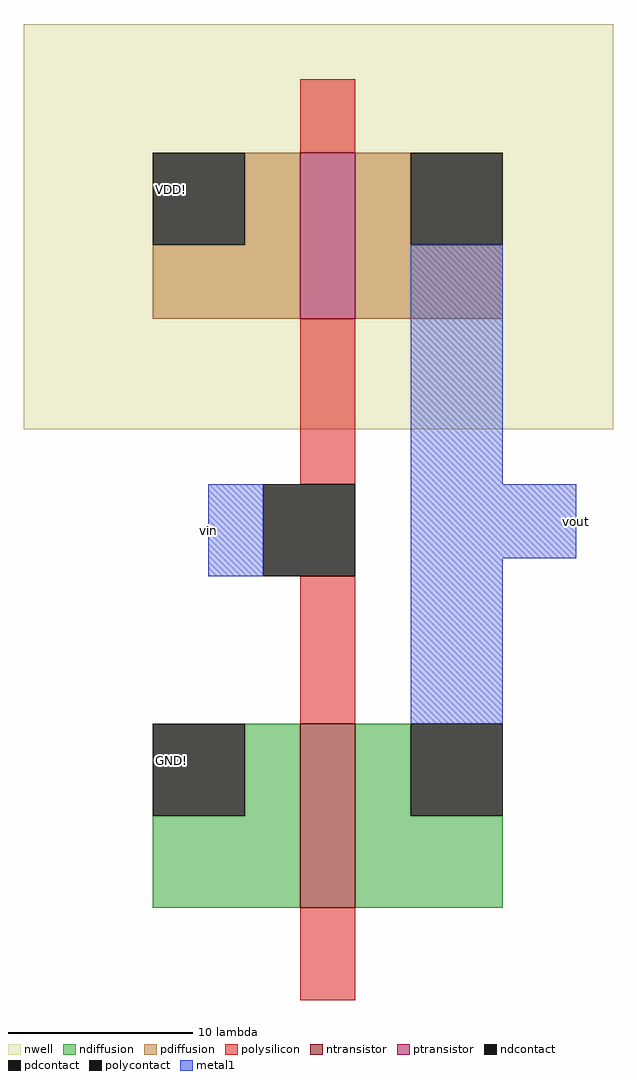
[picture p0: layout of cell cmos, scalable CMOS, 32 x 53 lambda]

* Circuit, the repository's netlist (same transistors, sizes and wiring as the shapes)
* SPICE3 file created from cmos.ext - technology: scmos

.option scale=0.1u

M1000 vout vin VDD w_n17_0# pfet w=9 l=3
+  ad=72 pd=34 as=72 ps=34
M1001 vout vin GND w_n1073741817_n1073741817# nfet w=10 l=3
+  ad=80 pd=36 as=80 ps=36

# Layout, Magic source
magic
tech scmos
<< nwell >>
rect -17 0 15 22
<< ntransistor >>
rect -2 -26 1 -16
<< ptransistor >>
rect -2 6 1 15
<< ndiffusion >>
rect -5 -21 -2 -16
rect -10 -26 -2 -21
rect 1 -21 4 -16
rect 1 -26 9 -21
<< pdiffusion >>
rect -5 10 -2 15
rect -10 6 -2 10
rect 1 10 4 15
rect 1 6 9 10
<< ndcontact >>
rect -10 -21 -5 -16
rect 4 -21 9 -16
<< pdcontact >>
rect -10 10 -5 15
rect 4 10 9 15
<< polysilicon >>
rect -2 15 1 19
rect -2 -3 1 6
rect -2 -16 1 -8
rect -2 -31 1 -26
<< polycontact >>
rect -4 -8 1 -3
<< metal1 >>
rect 4 -3 9 10
rect -7 -8 -4 -3
rect 4 -7 13 -3
rect 4 -16 9 -7
<< labels >>
rlabel metal1 -7 -8 -7 -3 1 vin
rlabel metal1 13 -7 13 -3 7 vout
rlabel pdcontact -9 13 -9 13 1 VDD!
rlabel ndcontact -9 -18 -9 -18 1 GND!
<< end >>
